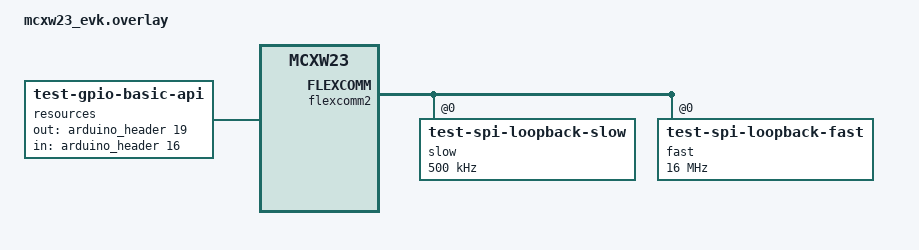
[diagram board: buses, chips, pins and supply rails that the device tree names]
/*
 * Copyright 2025 NXP
 *
 * SPDX-License-Identifier: Apache-2.0
 */

/* Connect J21 pins 3-4 */
&flexcomm2 {
	slow@0 {
		compatible = "test-spi-loopback-slow";
		reg = <0>;
		spi-max-frequency = <500000>;
	};

	fast@0 {
		compatible = "test-spi-loopback-fast";
		reg = <0>;
		spi-max-frequency = <16000000>;
	};
};

/ {
	resources {
		compatible = "test-gpio-basic-api";
		status = "okay";
		out-gpios = <&arduino_header 19 (GPIO_ACTIVE_HIGH | GPIO_PUSH_PULL | GPIO_PULL_UP)>;
		in-gpios = <&arduino_header 16 (GPIO_ACTIVE_HIGH | GPIO_PUSH_PULL | GPIO_PULL_UP)>;
	};
};
